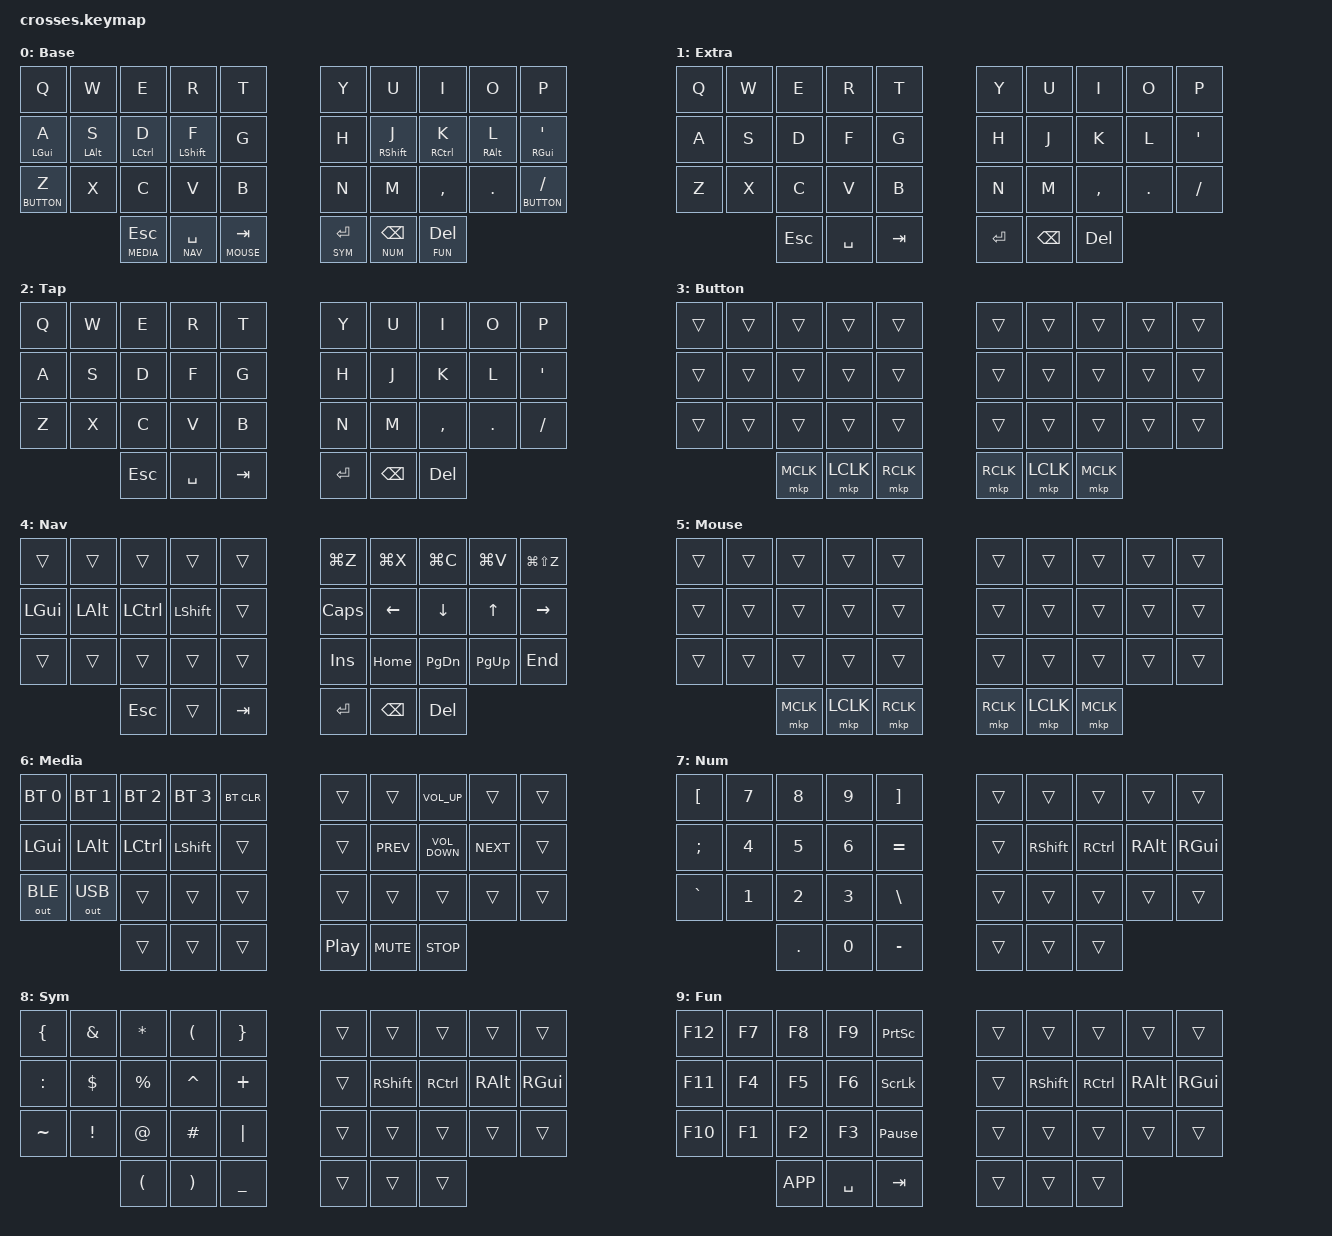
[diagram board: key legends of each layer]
#include <behaviors.dtsi>
#include <dt-bindings/zmk/bt.h>
#include <dt-bindings/zmk/keys.h>
#include <dt-bindings/zmk/outputs.h>
#include <dt-bindings/zmk/pointing.h>

#define BASE 0
#define EXTRA 1
#define TAP 2
#define BUTTON 3
#define NAV 4
#define MOUSE 5
#define MEDIA 6
#define NUM 7
#define SYM 8
#define FUN 9

&lt {
    tapping-term-ms = <200>;
    flavor = "tap-preferred";
    quick-tap-ms = <150>;
};

&mt {
    tapping-term-ms = <200>;
    flavor = "tap-preferred";
    quick-tap-ms = <150>;
};

/ {
    macros {
        bt_rescue: bt_rescue {
            compatible = "zmk,behavior-macro";
            #binding-cells = <0>;
            bindings = <&bt BT_CLR_ALL>, <&out OUT_BLE>;
        };
    };

    combos {
        compatible = "zmk,combos";

        bt_rescue_combo {
            timeout-ms = <50>;
            key-positions = <16 17 18 19>;
            layers = <BASE>;
            bindings = <&bt_rescue>;
        };
    };

    keymap {
        compatible = "zmk,keymap";

        Base {
            bindings = <
&kp Q          &kp W       &kp E       &kp R        &kp T        &kp Y        &kp U          &kp I          &kp O       &kp P
&mt LGUI A     &mt LALT S  &mt LCTRL D &mt LSHFT F  &kp G        &kp H        &mt RSHFT J    &mt RCTRL K    &mt RALT L  &mt RGUI SQT
&lt BUTTON Z   &kp X       &kp C       &kp V        &kp B        &kp N        &kp M          &kp COMMA      &kp DOT     &lt BUTTON SLASH
                                      &lt MEDIA ESC &lt NAV SPACE &lt MOUSE TAB &lt SYM ENTER &lt NUM BACKSPACE &lt FUN DELETE
            >;
        };

        Extra {
            bindings = <
&kp Q    &kp W    &kp E    &kp R    &kp T        &kp Y        &kp U          &kp I          &kp O          &kp P
&kp A    &kp S    &kp D    &kp F    &kp G        &kp H        &kp J          &kp K          &kp L          &kp SQT
&kp Z    &kp X    &kp C    &kp V    &kp B        &kp N        &kp M          &kp COMMA      &kp DOT        &kp SLASH
                            &kp ESC  &kp SPACE    &kp TAB      &kp ENTER      &kp BACKSPACE  &kp DELETE
            >;
        };

        Tap {
            bindings = <
&kp Q    &kp W    &kp E    &kp R    &kp T        &kp Y        &kp U          &kp I          &kp O          &kp P
&kp A    &kp S    &kp D    &kp F    &kp G        &kp H        &kp J          &kp K          &kp L          &kp SQT
&kp Z    &kp X    &kp C    &kp V    &kp B        &kp N        &kp M          &kp COMMA      &kp DOT        &kp SLASH
                            &kp ESC  &kp SPACE    &kp TAB      &kp ENTER      &kp BACKSPACE  &kp DELETE
            >;
        };

        Button {
            bindings = <
&trans  &trans  &trans  &trans  &trans      &trans      &trans      &trans      &trans      &trans
&trans  &trans  &trans  &trans  &trans      &trans      &trans      &trans      &trans      &trans
&trans  &trans  &trans  &trans  &trans      &trans      &trans      &trans      &trans      &trans
                        &mkp MCLK &mkp LCLK &mkp RCLK   &mkp RCLK   &mkp LCLK   &mkp MCLK
            >;
        };

        Nav {
            bindings = <
&trans       &trans     &trans      &trans     &trans       &kp LG(Z)       &kp LG(X)     &kp LG(C)     &kp LG(V)      &kp LG(LS(Z))
&kp LGUI     &kp LALT   &kp LCTRL   &kp LSHFT  &trans       &kp CAPSLOCK    &kp LEFT      &kp DOWN      &kp UP         &kp RIGHT
&trans       &trans     &trans      &trans     &trans       &kp INSERT      &kp HOME      &kp PG_DN     &kp PG_UP      &kp END
                                      &kp ESC   &trans       &kp TAB         &kp ENTER     &kp BACKSPACE &kp DELETE
            >;
        };

        Mouse {
            bindings = <
&trans  &trans  &trans  &trans  &trans      &trans      &trans      &trans      &trans      &trans
&trans  &trans  &trans  &trans  &trans      &trans      &trans      &trans      &trans      &trans
&trans  &trans  &trans  &trans  &trans      &trans      &trans      &trans      &trans      &trans
                        &mkp MCLK &mkp LCLK &mkp RCLK   &mkp RCLK   &mkp LCLK   &mkp MCLK
            >;
        };

        Media {
            bindings = <
&bt BT_SEL 0  &bt BT_SEL 1  &bt BT_SEL 2  &bt BT_SEL 3  &bt BT_CLR  &trans      &trans       &kp C_VOLUME_UP    &trans          &trans
&kp LGUI      &kp LALT      &kp LCTRL     &kp LSHFT     &trans      &trans      &kp C_PREV    &kp C_VOLUME_DOWN  &kp C_NEXT      &trans
&out OUT_BLE  &out OUT_USB  &trans        &trans        &trans      &trans      &trans        &trans             &trans          &trans
                                                      &trans        &trans      &trans        &kp C_PLAY_PAUSE   &kp C_MUTE      &kp C_STOP
            >;
        };

        Num {
            bindings = <
&kp LBKT  &kp N7  &kp N8  &kp N9  &kp RBKT     &trans      &trans      &trans      &trans      &trans
&kp SEMI  &kp N4  &kp N5  &kp N6  &kp EQUAL    &trans      &kp RSHFT   &kp RCTRL   &kp RALT    &kp RGUI
&kp GRAVE &kp N1  &kp N2  &kp N3  &kp BSLH     &trans      &trans      &trans      &trans      &trans
                             &kp DOT &kp N0     &kp MINUS   &trans      &trans      &trans
            >;
        };

        Sym {
            bindings = <
&kp LBRC   &kp AMPS  &kp ASTRK  &kp LPAR  &kp RBRC      &trans      &trans      &trans      &trans      &trans
&kp COLON  &kp DLLR  &kp PRCNT  &kp CARET &kp PLUS      &trans      &kp RSHFT   &kp RCTRL   &kp RALT    &kp RGUI
&kp TILDE  &kp EXCL  &kp AT     &kp HASH  &kp PIPE      &trans      &trans      &trans      &trans      &trans
                                &kp LPAR  &kp RPAR      &kp UNDER   &trans      &trans      &trans
            >;
        };

        Fun {
            bindings = <
&kp F12    &kp F7  &kp F8  &kp F9  &kp PRINTSCREEN   &trans      &trans      &trans      &trans      &trans
&kp F11    &kp F4  &kp F5  &kp F6  &kp SCROLLLOCK    &trans      &kp RSHFT   &kp RCTRL   &kp RALT    &kp RGUI
&kp F10    &kp F1  &kp F2  &kp F3  &kp PAUSE_BREAK   &trans      &trans      &trans      &trans      &trans
                             &kp K_APP &kp SPACE      &kp TAB     &trans      &trans      &trans
            >;
        };
    };
};
